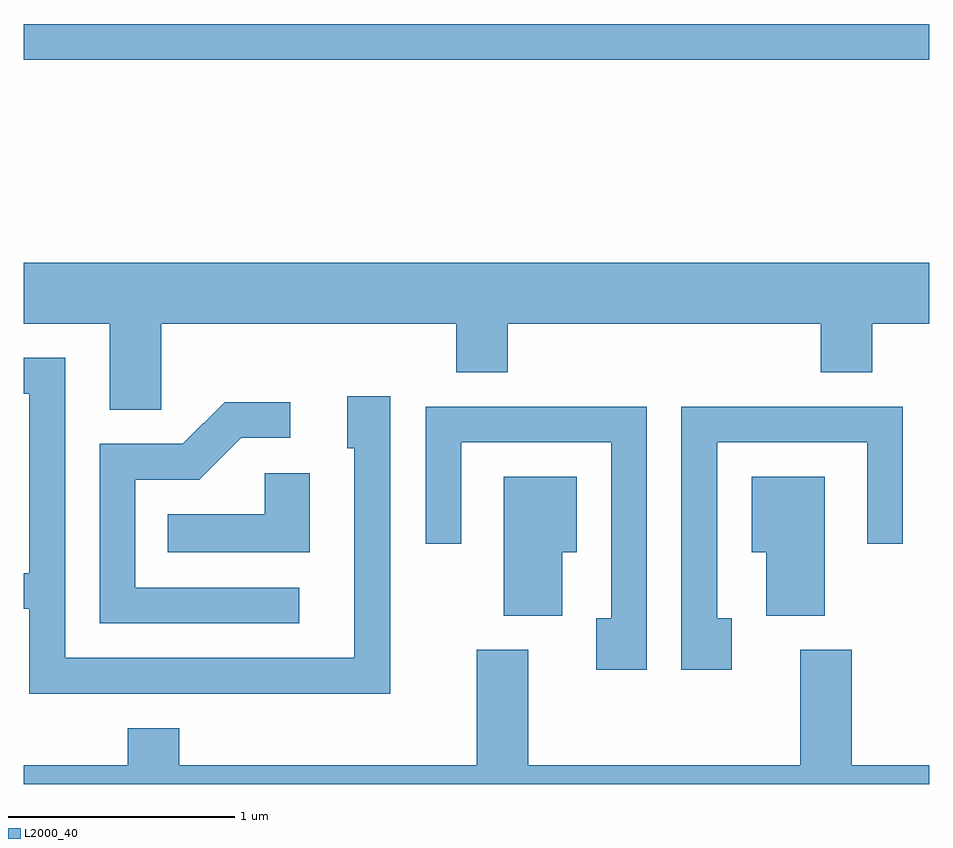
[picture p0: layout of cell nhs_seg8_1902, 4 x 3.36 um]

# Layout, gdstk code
import gdstk
lib = gdstk.Library(unit=1e-6, precision=1e-09)
def R(c, l, rs):  # rectangles x0, y0, x1, y1
    for r in rs: c.add(gdstk.rectangle(r[:2], r[2:], *l))
def P(c, l, *ps):  # polygons
    for p in ps: c.add(gdstk.Polygon(p, *l))
L2000_40 = (2000, 40)

nhs_seg8_1902 = lib.new_cell('nhs_seg8_1902')
R(nhs_seg8_1902, L2000_40, [(241.611,1877.541,245.611,1877.699)])
P(nhs_seg8_1902, L2000_40, [(242.219,1876.376),(243.521,1876.376),(243.521,1876.161),(243.749,1876.161),(243.749,1876.376),(245.131,1876.376),(245.131,1876.161),(245.359,1876.161),(245.359,1876.376),(245.611,1876.376),(245.611,1876.644),(241.611,1876.644),(241.611,1876.376),(241.991,1876.376),(241.991,1875.996),(242.219,1875.996)],
  [(243.229,1876.054),(243.041,1876.054),(243.041,1875.826),(243.071,1875.826),(243.071,1874.899),(241.794,1874.899),(241.794,1876.224),(241.611,1876.224),(241.611,1876.066),(241.636,1876.066),(241.636,1875.274),(241.611,1875.274),(241.611,1875.116),(241.636,1875.116),(241.636,1874.741),(243.229,1874.741)],
  [(242.828,1875.209),(242.104,1875.209),(242.104,1875.686),(242.387,1875.686),(242.572,1875.871),(242.788,1875.871),(242.788,1876.029),(242.499,1876.029),(242.314,1875.844),(241.946,1875.844),(241.946,1875.051),(242.828,1875.051)],
  [(244.739,1875.074),(244.674,1875.074),(244.674,1875.851),(245.336,1875.851),(245.336,1875.403),(245.494,1875.403),(245.494,1876.009),(244.516,1876.009),(244.516,1874.846),(244.739,1874.846)],
  [(244.364,1876.009),(243.386,1876.009),(243.386,1875.403),(243.544,1875.403),(243.544,1875.851),(244.206,1875.851),(244.206,1875.074),(244.141,1875.074),(244.141,1874.846),(244.364,1874.846)],
  [(242.874,1875.714),(242.676,1875.714),(242.676,1875.534),(242.248,1875.534),(242.248,1875.366),(242.874,1875.366)],
  [(243.989,1875.366),(244.054,1875.366),(244.054,1875.699),(243.731,1875.699),(243.731,1875.086),(243.989,1875.086)],
  [(245.149,1875.699),(244.826,1875.699),(244.826,1875.366),(244.891,1875.366),(244.891,1875.086),(245.149,1875.086)],
  [(245.611,1874.424),(245.269,1874.424),(245.269,1874.934),(245.041,1874.934),(245.041,1874.424),(243.839,1874.424),(243.839,1874.934),(243.611,1874.934),(243.611,1874.424),(242.299,1874.424),(242.299,1874.589),(242.071,1874.589),(242.071,1874.424),(241.611,1874.424),(241.611,1874.342),(245.611,1874.342)])

lib.write_gds('nhs_seg8_1902.gds')
